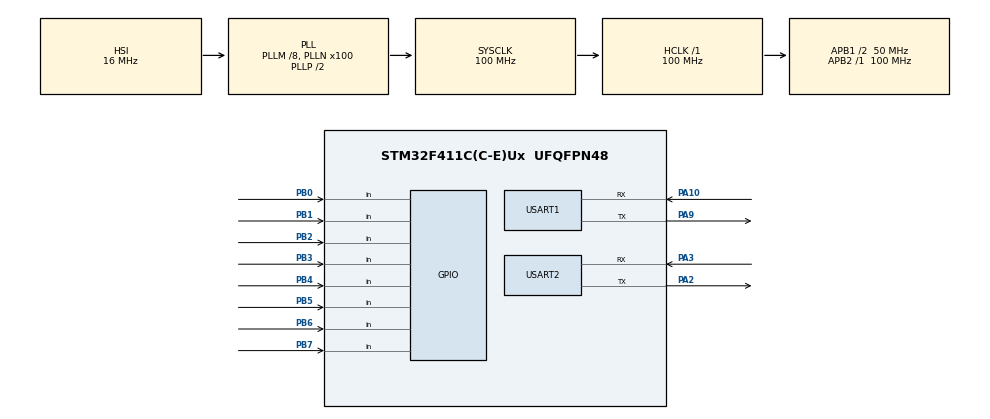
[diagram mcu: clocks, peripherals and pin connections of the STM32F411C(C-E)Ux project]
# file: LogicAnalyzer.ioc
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Dma.Request0=TIM1_UP
Dma.TIM1_UP.0.Direction=DMA_PERIPH_TO_MEMORY
Dma.TIM1_UP.0.FIFOMode=DMA_FIFOMODE_ENABLE
Dma.TIM1_UP.0.FIFOThreshold=DMA_FIFO_THRESHOLD_FULL
Dma.TIM1_UP.0.Instance=DMA2_Stream5
Dma.TIM1_UP.0.MemBurst=DMA_MBURST_SINGLE
Dma.TIM1_UP.0.MemDataAlignment=DMA_MDATAALIGN_BYTE
Dma.TIM1_UP.0.MemInc=DMA_MINC_ENABLE
Dma.TIM1_UP.0.Mode=DMA_NORMAL
Dma.TIM1_UP.0.PeriphBurst=DMA_PBURST_SINGLE
Dma.TIM1_UP.0.PeriphDataAlignment=DMA_PDATAALIGN_BYTE
Dma.TIM1_UP.0.PeriphInc=DMA_PINC_DISABLE
Dma.TIM1_UP.0.Priority=DMA_PRIORITY_LOW
Mcu.Family=STM32F4
Mcu.Name=STM32F411C(C-E)Ux
Mcu.Package=UFQFPN48
NVIC.DMA2_Stream5_IRQn=true\:0\:0\:false\:false\:true\:false\:true\:true
NVIC.PriorityGroup=NVIC_PRIORITYGROUP_4
NVIC.TIM1_BRK_TIM9_IRQn=true\:0\:0\:false\:false\:true\:true\:true\:true
PA10.Mode=Asynchronous
PA10.Signal=USART1_RX
PA13.Mode=Serial_Wire
PA13.Signal=SYS_JTMS-SWDIO
PA14.Mode=Serial_Wire
PA14.Signal=SYS_JTCK-SWCLK
PA2.Mode=Asynchronous
PA2.Signal=USART2_TX
PA3.Mode=Asynchronous
PA3.Signal=USART2_RX
PA9.Mode=Asynchronous
PA9.Signal=USART1_TX
PB0.Signal=GPIO_Input
PB1.Signal=GPIO_Input
PB2.GPIO_PuPd=GPIO_PULLDOWN
PB2.Signal=GPIO_Input
PB3.GPIO_PuPd=GPIO_PULLDOWN
PB3.Signal=GPIO_Input
PB4.GPIO_PuPd=GPIO_PULLDOWN
PB4.Signal=GPIO_Input
PB5.GPIO_PuPd=GPIO_PULLDOWN
PB5.Signal=GPIO_Input
PB6.GPIO_PuPd=GPIO_PULLDOWN
PB6.Signal=GPIO_Input
PB7.GPIO_PuPd=GPIO_PULLDOWN
PB7.Signal=GPIO_Input
PH0\ -\ OSC_IN.Mode=HSE-External-Oscillator
PH0\ -\ OSC_IN.Signal=RCC_OSC_IN
PH1\ -\ OSC_OUT.Mode=HSE-External-Oscillator
PH1\ -\ OSC_OUT.Signal=RCC_OSC_OUT
ProjectManager.HeapSize=0x200
ProjectManager.StackSize=0x400
ProjectManager.TargetToolchain=STM32CubeIDE
RCC.48MHZClocksFreq_Value=50000000
RCC.AHBFreq_Value=100000000
RCC.APB1CLKDivider=RCC_HCLK_DIV2
RCC.APB1Freq_Value=50000000
RCC.APB1TimFreq_Value=100000000
RCC.APB2Freq_Value=100000000
RCC.APB2TimFreq_Value=100000000
RCC.CortexFreq_Value=100000000
RCC.HCLKFreq_Value=100000000
RCC.HSE_VALUE=25000000
RCC.HSI_VALUE=16000000
RCC.LSE_VALUE=32768
RCC.PLLM=8
RCC.PLLN=100
RCC.SYSCLKFreq_VALUE=100000000
RCC.SYSCLKSource=RCC_SYSCLKSOURCE_PLLCLK
RCC.VCOOutputFreq_Value=200000000
TIM1.Period=99
TIM1.Prescaler=0
USART1.VirtualMode=VM_ASYNC
USART2.VirtualMode=VM_ASYNC
VP_TIM1_VS_ClockSourceINT.Mode=Internal
board=custom

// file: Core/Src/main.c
/* USER CODE BEGIN Header */
/**
 ******************************************************************************
 * @file           : main.c
 * @brief          : Main program body
 ******************************************************************************
 * @attention
 *
 * Copyright (c) 2026 STMicroelectronics.
 * All rights reserved.
 *
 * This software is licensed under terms that can be found in the LICENSE file
 * in the root directory of this software component.
 * If no LICENSE file comes with this software, it is provided AS-IS.
 *
 ******************************************************************************
 */
/* USER CODE END Header */
#include "main.h"

/* USER CODE BEGIN PD */
#define BUFFER_SIZE 16384 // Mảng RAM chứa 16 KB mẫu đo
/* USER CODE END PD */

TIM_HandleTypeDef htim1;
DMA_HandleTypeDef hdma_tim1_up;

UART_HandleTypeDef huart1;
UART_HandleTypeDef huart2;

/* USER CODE BEGIN PV */
uint8_t sample_buffer[BUFFER_SIZE];
volatile uint8_t is_sampling_done = 0;

uint8_t test = 'A';

/* USER CODE END PV */

void SystemClock_Config(void);
static void MX_GPIO_Init(void);
static void MX_DMA_Init(void);
static void MX_TIM1_Init(void);
static void MX_USART1_UART_Init(void);
static void MX_USART2_UART_Init(void);
/* USER CODE BEGIN PFP */

void LA_TransferComplete_CallBack(DMA_HandleTypeDef *hdma);
/* USER CODE END PFP */

int main(void)
{

  /* MCU Configuration--------------------------------------------------------*/

  /* Reset of all peripherals, Initializes the Flash interface and the Systick. */
  HAL_Init();

  /* Configure the system clock */
  SystemClock_Config();

  /* Initialize all configured peripherals */
  MX_GPIO_Init();
  MX_DMA_Init();
  MX_TIM1_Init();
  MX_USART1_UART_Init();
  MX_USART2_UART_Init();
  /* USER CODE BEGIN 2 */
  // 4. Đăng kí hàm callback
  hdma_tim1_up.XferCpltCallback = LA_TransferComplete_CallBack;
  // 1. Cho DMA2_Stream5 đọc từ thanh ghi GPIOA->IDR vào mảng dma_buffer
  HAL_DMA_Start_IT(&hdma_tim1_up, (uint32_t)&(GPIOB->IDR), (uint32_t)sample_buffer, BUFFER_SIZE);
  // 2. Cho phép TIM1 gửi tín hiệu trigger sang DMA mỗi khi tràn chu kỳ (mỗi 1 us)
  __HAL_TIM_ENABLE_DMA(&htim1, TIM_DMA_UPDATE);
  // 3. Khởi động TIM1
  __HAL_TIM_ENABLE(&htim1);

  is_sampling_done = 0;

  HAL_UART_Transmit(&huart2, &test, 1, 100);

  /* USER CODE END 2 */

  /* Infinite loop */
  while (1)
  {

    /* USER CODE BEGIN 3 */
	  if(is_sampling_done)
	  {
		  HAL_Delay(5000);

		  is_sampling_done = 0;

		  HAL_UART_Transmit(&huart1, sample_buffer, BUFFER_SIZE,HAL_MAX_DELAY);

		  HAL_Delay(5000);

		  HAL_DMA_Start_IT(&hdma_tim1_up, (uint32_t)&(GPIOB->IDR), (uint32_t)sample_buffer, BUFFER_SIZE);
		  // 2. Cho phép TIM1 gửi tín hiệu trigger sang DMA mỗi khi tràn chu kỳ (mỗi 1 us)
		  __HAL_TIM_ENABLE_DMA(&htim1, TIM_DMA_UPDATE);
		  // 3. Khởi động TIM1
		  __HAL_TIM_ENABLE(&htim1);

		  HAL_UART_Transmit(&huart2, &test, 1, 100);

	  }
//	  HAL_UART_Transmit(&huart1, &test, 1, 100);
//
//	  HAL_Delay(1000);

  }
  /* USER CODE END 3 */
}

void SystemClock_Config(void)
{
  RCC_OscInitTypeDef RCC_OscInitStruct = {0};
  RCC_ClkInitTypeDef RCC_ClkInitStruct = {0};

  /** Configure the main internal regulator output voltage
  */
  __HAL_RCC_PWR_CLK_ENABLE();
  __HAL_PWR_VOLTAGESCALING_CONFIG(PWR_REGULATOR_VOLTAGE_SCALE1);

  /** Initializes the RCC Oscillators according to the specified parameters
  * in the RCC_OscInitTypeDef structure.
  */
  RCC_OscInitStruct.OscillatorType = RCC_OSCILLATORTYPE_HSI;
  RCC_OscInitStruct.HSIState = RCC_HSI_ON;
  RCC_OscInitStruct.HSICalibrationValue = RCC_HSICALIBRATION_DEFAULT;
  RCC_OscInitStruct.PLL.PLLState = RCC_PLL_ON;
  RCC_OscInitStruct.PLL.PLLSource = RCC_PLLSOURCE_HSI;
  RCC_OscInitStruct.PLL.PLLM = 8;
  RCC_OscInitStruct.PLL.PLLN = 100;
  RCC_OscInitStruct.PLL.PLLP = RCC_PLLP_DIV2;
  RCC_OscInitStruct.PLL.PLLQ = 4;
  if (HAL_RCC_OscConfig(&RCC_OscInitStruct) != HAL_OK)
  {
    Error_Handler();
  }

  /** Initializes the CPU, AHB and APB buses clocks
  */
  RCC_ClkInitStruct.ClockType = RCC_CLOCKTYPE_HCLK|RCC_CLOCKTYPE_SYSCLK
                              |RCC_CLOCKTYPE_PCLK1|RCC_CLOCKTYPE_PCLK2;
  RCC_ClkInitStruct.SYSCLKSource = RCC_SYSCLKSOURCE_PLLCLK;
  RCC_ClkInitStruct.AHBCLKDivider = RCC_SYSCLK_DIV1;
  RCC_ClkInitStruct.APB1CLKDivider = RCC_HCLK_DIV2;
  RCC_ClkInitStruct.APB2CLKDivider = RCC_HCLK_DIV1;

  if (HAL_RCC_ClockConfig(&RCC_ClkInitStruct, FLASH_LATENCY_3) != HAL_OK)
  {
    Error_Handler();
  }
}

static void MX_TIM1_Init(void)
{

  TIM_ClockConfigTypeDef sClockSourceConfig = {0};
  TIM_MasterConfigTypeDef sMasterConfig = {0};

  htim1.Instance = TIM1;
  htim1.Init.Prescaler = 0;
  htim1.Init.CounterMode = TIM_COUNTERMODE_UP;
  htim1.Init.Period = 99;
  htim1.Init.ClockDivision = TIM_CLOCKDIVISION_DIV1;
  htim1.Init.RepetitionCounter = 0;
  htim1.Init.AutoReloadPreload = TIM_AUTORELOAD_PRELOAD_DISABLE;
  if (HAL_TIM_Base_Init(&htim1) != HAL_OK)
  {
    Error_Handler();
  }
  sClockSourceConfig.ClockSource = TIM_CLOCKSOURCE_INTERNAL;
  if (HAL_TIM_ConfigClockSource(&htim1, &sClockSourceConfig) != HAL_OK)
  {
    Error_Handler();
  }
  sMasterConfig.MasterOutputTrigger = TIM_TRGO_RESET;
  sMasterConfig.MasterSlaveMode = TIM_MASTERSLAVEMODE_DISABLE;
  if (HAL_TIMEx_MasterConfigSynchronization(&htim1, &sMasterConfig) != HAL_OK)
  {
    Error_Handler();
  }

}

static void MX_USART1_UART_Init(void)
{

  huart1.Instance = USART1;
  huart1.Init.BaudRate = 115200;
  huart1.Init.WordLength = UART_WORDLENGTH_8B;
  huart1.Init.StopBits = UART_STOPBITS_1;
  huart1.Init.Parity = UART_PARITY_NONE;
  huart1.Init.Mode = UART_MODE_TX_RX;
  huart1.Init.HwFlowCtl = UART_HWCONTROL_NONE;
  huart1.Init.OverSampling = UART_OVERSAMPLING_16;
  if (HAL_UART_Init(&huart1) != HAL_OK)
  {
    Error_Handler();
  }

}

static void MX_USART2_UART_Init(void)
{

  huart2.Instance = USART2;
  huart2.Init.BaudRate = 115200;
  huart2.Init.WordLength = UART_WORDLENGTH_8B;
  huart2.Init.StopBits = UART_STOPBITS_1;
  huart2.Init.Parity = UART_PARITY_NONE;
  huart2.Init.Mode = UART_MODE_TX_RX;
  huart2.Init.HwFlowCtl = UART_HWCONTROL_NONE;
  huart2.Init.OverSampling = UART_OVERSAMPLING_16;
  if (HAL_UART_Init(&huart2) != HAL_OK)
  {
    Error_Handler();
  }

}

static void MX_DMA_Init(void)
{

  /* DMA controller clock enable */
  __HAL_RCC_DMA2_CLK_ENABLE();

  /* DMA interrupt init */
  /* DMA2_Stream5_IRQn interrupt configuration */
  HAL_NVIC_SetPriority(DMA2_Stream5_IRQn, 0, 0);
  HAL_NVIC_EnableIRQ(DMA2_Stream5_IRQn);

}

static void MX_GPIO_Init(void)
{
  GPIO_InitTypeDef GPIO_InitStruct = {0};

  /* GPIO Ports Clock Enable */
  __HAL_RCC_GPIOH_CLK_ENABLE();
  __HAL_RCC_GPIOA_CLK_ENABLE();
  __HAL_RCC_GPIOB_CLK_ENABLE();

  /*Configure GPIO pins : PB0 PB1 */
  GPIO_InitStruct.Pin = GPIO_PIN_0|GPIO_PIN_1;
  GPIO_InitStruct.Mode = GPIO_MODE_INPUT;
  GPIO_InitStruct.Pull = GPIO_NOPULL;
  HAL_GPIO_Init(GPIOB, &GPIO_InitStruct);

  /*Configure GPIO pins : PB2 PB3 PB4 PB5
                           PB6 PB7 */
  GPIO_InitStruct.Pin = GPIO_PIN_2|GPIO_PIN_3|GPIO_PIN_4|GPIO_PIN_5
                          |GPIO_PIN_6|GPIO_PIN_7;
  GPIO_InitStruct.Mode = GPIO_MODE_INPUT;
  GPIO_InitStruct.Pull = GPIO_PULLDOWN;
  HAL_GPIO_Init(GPIOB, &GPIO_InitStruct);

}

/* USER CODE BEGIN 4 */
void LA_TransferComplete_CallBack(DMA_HandleTypeDef *hdma)
{
	// Dừng Timer và ngắt DMA ngay khi đầy bộ đệm để tránh ghi đè
	    HAL_TIM_Base_Stop(&htim1);
	    __HAL_TIM_DISABLE_DMA(&htim1, TIM_DMA_UPDATE);

	    is_sampling_done = 1; // Bật cờ báo hiệu đã đo xong
}
/* USER CODE END 4 */

void Error_Handler(void)
{
  __disable_irq();
  while (1)
  {
  }
}
